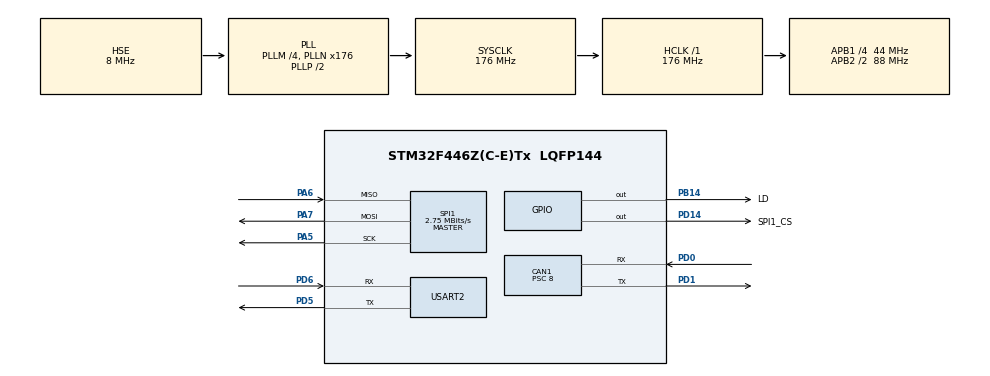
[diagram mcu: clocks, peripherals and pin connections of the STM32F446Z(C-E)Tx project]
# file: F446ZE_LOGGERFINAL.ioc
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CAN1.BS1=CAN_BS1_9TQ
CAN1.CalculateBaudRate=500000
CAN1.CalculateTimeBit=2000
CAN1.CalculateTimeQuantum=181.8181818181818
CAN1.Prescaler=8
FATFS._MAX_SS=512
FATFS._MIN_SS=512
FATFS._USE_LFN=2
Mcu.Family=STM32F4
Mcu.Name=STM32F446Z(C-E)Tx
Mcu.Package=LQFP144
NVIC.CAN1_RX0_IRQn=true\:0\:0\:false\:false\:true\:true\:true\:true
NVIC.PriorityGroup=NVIC_PRIORITYGROUP_4
NVIC.TIM6_DAC_IRQn=true\:15\:0\:false\:false\:true\:false\:true\:true
NVIC.TimeBase=TIM6_DAC_IRQn
NVIC.TimeBaseIP=TIM6
PA13.Mode=Serial_Wire
PA13.Signal=SYS_JTMS-SWDIO
PA14.Mode=Serial_Wire
PA14.Signal=SYS_JTCK-SWCLK
PA5.Mode=Full_Duplex_Master
PA5.Signal=SPI1_SCK
PA6.Mode=Full_Duplex_Master
PA6.Signal=SPI1_MISO
PA7.Mode=Full_Duplex_Master
PA7.Signal=SPI1_MOSI
PB14.GPIO_Label=LD
PB14.Signal=GPIO_Output
PC14-OSC32_IN.Mode=LSE-External-Oscillator
PC14-OSC32_IN.Signal=RCC_OSC32_IN
PC15-OSC32_OUT.Mode=LSE-External-Oscillator
PC15-OSC32_OUT.Signal=RCC_OSC32_OUT
PD0.Mode=CAN_Activate
PD0.Signal=CAN1_RX
PD1.Mode=CAN_Activate
PD1.Signal=CAN1_TX
PD14.GPIO_Label=SPI1_CS
PD14.Signal=GPIO_Output
PD5.Mode=Asynchronous
PD5.Signal=USART2_TX
PD6.Mode=Asynchronous
PD6.Signal=USART2_RX
PH0-OSC_IN.Mode=HSE-External-Oscillator
PH0-OSC_IN.Signal=RCC_OSC_IN
PH1-OSC_OUT.Mode=HSE-External-Oscillator
PH1-OSC_OUT.Signal=RCC_OSC_OUT
ProjectManager.HeapSize=0x200
ProjectManager.StackSize=0x400
ProjectManager.TargetToolchain=STM32CubeIDE
RCC.48MHZClocksFreq_Value=24000000
RCC.AHBFreq_Value=176000000
RCC.APB1CLKDivider=RCC_HCLK_DIV4
RCC.APB1Freq_Value=44000000
RCC.APB1TimFreq_Value=88000000
RCC.APB2CLKDivider=RCC_HCLK_DIV2
RCC.APB2Freq_Value=88000000
RCC.APB2TimFreq_Value=176000000
RCC.CortexFreq_Value=176000000
RCC.HCLKFreq_Value=176000000
RCC.HSE_VALUE=8000000
RCC.HSI_VALUE=16000000
RCC.PLLM=4
RCC.PLLMUL=RCC_PLL_MUL9
RCC.PLLN=176
RCC.PLLQ=7
RCC.PLLSourceVirtual=RCC_PLLSOURCE_HSE
RCC.PRESCALERUSB=RCC_USBCLKSOURCE_PLL_DIV1_5
RCC.RCC_RTC_Clock_SourceVirtual=RCC_RTCCLKSOURCE_LSE
RCC.SYSCLKFreq_VALUE=176000000
RCC.SYSCLKSource=RCC_SYSCLKSOURCE_PLLCLK
RCC.SYSCLKSourceVirtual=RCC_SYSCLKSOURCE_PLLCLK
RCC.USBFreq_Value=50285714.28571428
RCC.VCOOutputFreq_Value=352000000
SPI1.BaudRatePrescaler=SPI_BAUDRATEPRESCALER_32
SPI1.CalculateBaudRate=2.75 MBits/s
SPI1.Direction=SPI_DIRECTION_2LINES
SPI1.Mode=SPI_MODE_MASTER
SPI1.VirtualType=VM_MASTER
USART2.VirtualMode=VM_ASYNC
VP_FATFS_VS_Generic.Mode=User_defined
VP_RTC_VS_RTC_Activate.Mode=RTC_Enabled
VP_RTC_VS_RTC_Calendar.Mode=RTC_Calendar
VP_SYS_VS_tim6.Mode=TIM6
board=NUCLEO-F446ZE

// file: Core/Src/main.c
/* USER CODE BEGIN Header */
/**
  ******************************************************************************
  * @file           : main.c
  * @brief          : Main program body
  ******************************************************************************
  * @attention
  *
  * Copyright (c) 2024 STMicroelectronics.
  * All rights reserved.
  *
  * This software is licensed under terms that can be found in the LICENSE file
  * in the root directory of this software component.
  * If no LICENSE file comes with this software, it is provided AS-IS.
  *
  ******************************************************************************
  */
/* USER CODE END Header */
#include "main.h"
#include "fatfs.h"

/* USER CODE BEGIN Includes */
#include "FreeRTOS.h"
#include "task.h"
#include "timers.h"
#include "queue.h"
#include "semphr.h"
#include "event_groups.h"

#include "File_Handling_RTOS.h"
#include "can.h"
//#include "int_rtc.h"
#include "timestamp.h"

#include "string.h"
#include "stdio.h"

/* USER CODE END Includes */

/* USER CODE BEGIN PD */
uint16_t data0[90]={0};

#define WHEEL_RPM                       data0[0]
#define WHEEL_R                         data0[1]
#define BATTERY_VOLTAGE                 data0[2]
#define BATTERY_CURRENT                 data0[3]
#define THROTTLE_POSITION               data0[4]
#define MODE_AND_LOCK_STATE             data0[5]
#define PARKING_INDICATION              data0[6]
#define REVERSE                         data0[7]
#define OVER_CURRENT                    data0[8]
#define OVERLOAD_ERROR                  data0[9]
#define LOCK1                           data0[10]
#define VEHICLE_ANTI_THEFT_SYSTEM       data0[11]
#define E_ABS                           data0[12]
#define CHARGING                        data0[13]
#define REGENERATIVE_BRAKING1           data0[14]
#define THROTTLE_ERROR                  data0[15]
#define MCU_ERROR                       data0[16]
#define MOTOR_ERROR                     data0[17]
#define BRAKE_ANY                       data0[18]
#define TEMPERATURE                     data0[19]
#define LOCK2                           data0[20]
#define FWD_GEAR                        data0[21]
#define NEUTRAL_GEAR                    data0[22]
#define SPEED_CONTROL_STATUS            data0[23]
#define CURRENT_CONTROL_STATUS          data0[24]
#define UNDER_VOLTAGE_STATUS            data0[25]
#define OVER_VOLTAGE_STATUS             data0[26]
#define REGENERATIVE_BRAKING_STATUS     data0[27]
#define REGENERATIVE_DURING_BRAKING_STATUS data0[28]
#define TORQUE_CONTROL_STATUS           data0[29]
#define MODE_AND_STATE_CONTROL_SECTION  data0[30]
#define E_ABS2                          data0[31]
#define REGENERATIVE_BRAKING2           data0[32]
#define LOCK3                           data0[33]
#define MAXIMUM_SPEED_CONTROL           data0[34]
#define CURRENT_LIMIT                   data0[35]
#define UNDERVOLTAGE_LIMIT              data0[36]
#define OVERVOLTAGE_LIMIT               data0[37]
#define REGEN_BRA_AT_ZERO_THROTTLE      data0[38]
#define RE_BR_AT_ZERO_THROTTLE          data0[39]

// RevxxData mappings
#define SOC                 data0[40]
#define STATE_OF_HEALTH     data0[41]
#define CURRENT_STATE       data0[42]
#define PREV_STATE          data0[43]
#define AVAILABLECAPACITY   data0[44]
#define BMSID               data0[45]
#define H_VERSION           data0[46]
#define S_VERSION           data0[47]
#define CELLVOL1            data0[48]
#define CELLVOL2            data0[49]
#define CELLVOL3            data0[50]
#define CELLVOL4            data0[51]
#define CELLVOL5            data0[52]
#define CELLVOL6            data0[53]
#define CELLVOL7            data0[54]
#define CELLVOL8            data0[55]
#define CELLVOL9            data0[56]
#define CELLVOL10           data0[57]
#define CELLVOL11           data0[58]
#define CELLVOL12           data0[59]
#define CELLVOL13           data0[60]
#define CELLVOL14           data0[61]
#define CELLVOL15           data0[62]
#define CELLVOL16           data0[63]
#define CELLVOL17           data0[64]
#define CELLVOL18           data0[65]
#define CELLVOL19           data0[66]
#define CELLVOL20           data0[67]
#define CELLTEMP1           data0[68]
#define CELLTEMP2           data0[69]
#define CELLTEMP3           data0[70]
#define CELLTEMP4           data0[71]
#define CELLTEMP5           data0[72]
#define CELLTEMP6           data0[73]
#define CELLTEMP7           data0[74]
#define CELLTEMP8           data0[75]
#define CELLTEMP9           data0[76]
#define CELLTEMP10          data0[77]
#define CELLTEMP11          data0[78]
#define CELLTEMP12          data0[79]
#define CELLTEMP13          data0[80]
#define CELLTEMP14          data0[81]
#define CELLTEMP15          data0[82]
#define CELLTEMP16          data0[83]
#define CELLTEMP17          data0[84]
#define CELLTEMP18          data0[85]
#define TOTAL_VOLTAGE       data0[86]
#define CURRENT             data0[87]
#define POWER               data0[88]
#define BATTERY_FAILURE     data0[89]
/* USER CODE END PD */

CAN_HandleTypeDef hcan1;

RTC_HandleTypeDef hrtc;

SPI_HandleTypeDef hspi1;

UART_HandleTypeDef huart2;

/* USER CODE BEGIN PV */

CAN_TxHeaderTypeDef TxHeader;

CAN_RxHeaderTypeDef RxHeader;

uint8_t txData[8];

uint8_t rxData[8];

uint32_t mailbox0;

extern char time[30];
extern char date[30];

extern RTC_DateTypeDef gDate;
extern RTC_TimeTypeDef gTime;

extern uint32_t seconds;
extern uint32_t milliseconds;
extern uint32_t milliseconds_display;
extern uint8_t running;

/* USER CODE END PV */

void SystemClock_Config(void);
static void MX_GPIO_Init(void);
static void MX_SPI1_Init(void);
static void MX_USART2_UART_Init(void);
static void MX_CAN1_Init(void);
static void MX_RTC_Init(void);
/* USER CODE BEGIN PFP */
extern void Start_Stopwatch(void);

/* USER CODE END PFP */

/* USER CODE BEGIN 0 */
xTaskHandle SD_TASK_Handler;
xTaskHandle UART_TASK_Handler;

//void UART_TASK(void *arguments){
//	while(1){
////	char *buffer = pvPortMalloc(2000*sizeof(char));
//
////	sprintf(buffer,
////	    "%d,%d,%d,%d,%d,%d,%d,%d,%d,%d,%d,%d,%d,%d,%d,%d,%d,%d,%d,%d,%d,%d,%d,%d,%d,%d,%d,%d,%d,%d,%d,%d,%d,%d,%d,%d,%d,%d,%d,%d,%d,%d,%d,%d,%d,%d,%d,%d,%d,%d,%d,%d,%d,%d,%d,%d,%d,%d,%d,%d,%d,%d,%d,%d,%d,%d,%d,%d,%d,%d,%d,%d,%d,%d,%d,%d,%d,%d,%d,%d,%d,%d,%d,%d,%d,%d,%d,%d,%d,%d\n",
////	    data0[0], data0[1], data0[2], data0[3], data0[4], data0[5], data0[6], data0[7], data0[8], data0[9], data0[10], data0[11],
////	    data0[12], data0[13], data0[14], data0[15], data0[16], data0[17], data0[18], data0[19], data0[20], data0[21], data0[22], data0[23],
////	    data0[24], data0[25], data0[26], data0[27], data0[28], data0[29], data0[30], data0[31], data0[32], data0[33], data0[34], data0[35],
////	    data0[36], data0[37], data0[38], data0[39], data0[40], data0[41], data0[42], data0[43], data0[44], data0[45], data0[46], data0[47],
////	    data0[48], data0[49], data0[50], data0[51], data0[52], data0[53], data0[54], data0[55], data0[56], data0[57], data0[58], data0[59],
////	    data0[60], data0[61], data0[62], data0[63], data0[64], data0[65], data0[66], data0[67], data0[68], data0[69], data0[70], data0[71],
////	    data0[72], data0[73], data0[74], data0[75], data0[76], data0[77], data0[78], data0[79], data0[80], data0[81], data0[82], data0[83],
////	    data0[84], data0[85], data0[86], data0[87], data0[88], data0[89]
////	);
////	sprintf(buffer, "%02d-%02d-%04d_%02d-%02d_KonwertLog.txt\r\n",
////	               gDate.Date, gDate.Month, 2000 + gDate.Year, gTime.Hours, gTime.Minutes);
//
//	HAL_UART_Transmit(&huart2, (uint8_t*)buffer, strlen(buffer), HAL_MAX_DELAY);
////	HAL_NVIC_EnableIRQ(CAN1_RX0_IRQn);
//
//	vPortFree(buffer);
//	vTaskDelay(pdMS_TO_TICKS(1000)); // Delay 10 milliseconds
//
//	}
//}

//char *buffer;  // Declare the pointer variable
//char buffer[2000];  // Static allocation

void SD_TASK(void *arguments){

		int indx=1;
		int flag=1;

//		char *buffer = pvPortMalloc(3000*sizeof(char));

		char buffer[1500];
		while (1)
		{
		HAL_GPIO_WritePin(GPIOB, GPIO_PIN_14, 1);
		if(flag==1){
			sprintf(buffer, " INDEX,TIMESTAMP, WHEEL_RPM, WHEEL_R, BATTERY_VOLTAGE, BATTERY_CURRENT, THROTTLE_POSITION, MODE_AND_LOCK_STATE, PARKING_INDICATION, REVERSE, OVER_CURRENT, OVERLOAD_ERROR, LOCK1, VEHICLE_ANTI_THEFT_SYSTEM, E_ABS, CHARGING, REGENERATIVE_BRAKING1, THROTTLE_ERROR, MCU_ERROR, MOTOR_ERROR, BRAKE_ANY, TEMPERATURE, LOCK2, FWD_GEAR, NEUTRAL_GEAR, SPEED_CONTROL_STATUS, CURRENT_CONTROL_STATUS, UNDER_VOLTAGE_STATUS, OVER_VOLTAGE_STATUS, REGENERATIVE_BRAKING_STATUS, REGENERATIVE_DURING_BRAKING_STATUS, TORQUE_CONTROL_STATUS, MODE_AND_STATE_CONTROL_SECTION, E_ABS2, REGENERATIVE_BRAKING2, LOCK3, MAXIMUM_SPEED_CONTROL, CURRENT_LIMIT, UNDERVOLTAGE_LIMIT, OVERVOLTAGE_LIMIT, REGEN_BRA_AT_ZERO_THROTTLE, RE_BR_AT_ZERO_THROTTLE, SOC, STATE_OF_HEALTH, CURRENT_STATE, PREV_STATE, AVAILABLECAPACITY, BMSID, H_VERSION, S_VERSION, CELLVOL1, CELLVOL2, CELLVOL3, CELLVOL4, CELLVOL5, CELLVOL6, CELLVOL7, CELLVOL8, CELLVOL9, CELLVOL10, CELLVOL11, CELLVOL12, CELLVOL13, CELLVOL14, CELLVOL15, CELLVOL16, CELLVOL17, CELLVOL18, CELLVOL19, CELLVOL20, CELLTEMP1, CELLTEMP2, CELLTEMP3, CELLTEMP4, CELLTEMP5, CELLTEMP6, CELLTEMP7, CELLTEMP8, CELLTEMP9, CELLTEMP10, CELLTEMP11, CELLTEMP12, CELLTEMP13, CELLTEMP14, CELLTEMP15, CELLTEMP16, CELLTEMP17, CELLTEMP18, TOTAL_VOLTAGE, CURRENT, POWER, BATTERY_FAILURE\n");
			HAL_UART_Transmit(&huart2, (uint8_t*)buffer, strlen(buffer), HAL_MAX_DELAY);
			flag=0;
		}else{
			Start_Stopwatch();
			sprintf(buffer,
			    "%d,%lu.%03lu,%d,%d,%d,%d,%d,%d,%d,%d,%d,%d,%d,%d,%d,%d,%d,%d,%d,%d,%d,%d,%d,%d,%d,%d,%d,%d,%d,%d,%d,%d,%d,%d,%d,%d,%d,%d,%d,%d,%d,%d,%d,%d,%d,%d,%d,%d,%d,%d,%d,%d,%d,%d,%d,%d,%d,%d,%d,%d,%d,%d,%d,%d,%d,%d,%d,%d,%d,%d,%d,%d,%d,%d,%d,%d,%d,%d,%d,%d,%d,%d,%d,%d,%d,%d,%d,%d,%d,%d,%d,%d\n",
			    indx,seconds,milliseconds_display,data0[0], data0[1], data0[2], data0[3], data0[4], data0[5], data0[6], data0[7], data0[8], data0[9], data0[10], data0[11],
			    data0[12], data0[13], data0[14], data0[15], data0[16], data0[17], data0[18], data0[19], data0[20], data0[21], data0[22], data0[23],
			    data0[24], data0[25], data0[26], data0[27], data0[28], data0[29], data0[30], data0[31], data0[32], data0[33], data0[34], data0[35],
			    data0[36], data0[37], data0[38], data0[39], data0[40], data0[41], data0[42], data0[43], data0[44], data0[45], data0[46], data0[47],
			    data0[48], data0[49], data0[50], data0[51], data0[52], data0[53], data0[54], data0[55], data0[56], data0[57], data0[58], data0[59],
			    data0[60], data0[61], data0[62], data0[63], data0[64], data0[65], data0[66], data0[67], data0[68], data0[69], data0[70], data0[71],
			    data0[72], data0[73], data0[74], data0[75], data0[76], data0[77], data0[78], data0[79], data0[80], data0[81], data0[82], data0[83],
			    data0[84], data0[85], data0[86], data0[87], data0[88], data0[89]
			);

			HAL_UART_Transmit(&huart2, (uint8_t*)buffer, strlen(buffer), HAL_MAX_DELAY);
			indx++;
		}

//			Mount_SD("/");
			Update_File("konwert.TXT", buffer);
//			vPortFree(buffer);
//			HAL_UART_Transmit(&huart2, (uint8_t*)buffer, strlen(buffer), HAL_MAX_DELAY);
//			Unmount_SD("/");
//			HAL_NVIC_EnableIRQ(CAN1_RX0_IRQn);
//			HAL_Delay(500);
			HAL_GPIO_WritePin(GPIOB, GPIO_PIN_14, 0);
//			HAL_Delay(500);
//			HAL_GPIO_WritePin(LD_GPIO_Port, LD_Pin, 0);
//			vTaskDelay(pdMS_TO_TICKS(1000)); // Delay 10 milliseconds
		}
}
/* USER CODE END 0 */

int main(void)
{

  /* MCU Configuration--------------------------------------------------------*/

  /* Reset of all peripherals, Initializes the Flash interface and the Systick. */
  HAL_Init();

  /* Configure the system clock */
  SystemClock_Config();

  /* Initialize all configured peripherals */
  MX_GPIO_Init();
  MX_SPI1_Init();
  MX_USART2_UART_Init();
  MX_FATFS_Init();
  MX_CAN1_Init();
  MX_RTC_Init();
  /* USER CODE BEGIN 2 */
//  if(HAL_RTCEx_BKUPRead(&hrtc, RTC_BKP_DR1) != 0x32F2)
//    {
//      //   Set the time
//        set_time();
//    }
//  get_time();
//  sprintf((char*)fileName, "%02d-%02d-%04d_%02d-%02d_KonwertLog.txt",
//               gDate.Date, gDate.Month, 2000 + gDate.Year, gTime.Hours, gTime.Minutes);

  Mount_SD("/");
  Format_SD();
  Create_File("konwert.TXT");
//  Unmount_SD("/");

//  filter_config();
//
//  HAL_CAN_ActivateNotification(&hcan1, CAN_IT_RX_FIFO0_MSG_PENDING);
//
//  if(HAL_CAN_Start(&hcan1)!=HAL_OK)
//  Error_Handler();

  xTaskCreate(SD_TASK, "SD_CARD", 4000, NULL, 5, &SD_TASK_Handler); //2048
//  xTaskCreate(UART_TASK, "UART_CARD", 256, NULL, 5, &UART_TASK_Handler);
//
//
  vTaskStartScheduler();

  /* USER CODE END 2 */

  /* Infinite loop */
  while (1)
  {

  }
}

void SystemClock_Config(void)
{
  RCC_OscInitTypeDef RCC_OscInitStruct = {0};
  RCC_ClkInitTypeDef RCC_ClkInitStruct = {0};

  /** Configure the main internal regulator output voltage
  */
  __HAL_RCC_PWR_CLK_ENABLE();
  __HAL_PWR_VOLTAGESCALING_CONFIG(PWR_REGULATOR_VOLTAGE_SCALE1);

  /** Initializes the RCC Oscillators according to the specified parameters
  * in the RCC_OscInitTypeDef structure.
  */
  RCC_OscInitStruct.OscillatorType = RCC_OSCILLATORTYPE_HSE|RCC_OSCILLATORTYPE_LSE;
  RCC_OscInitStruct.HSEState = RCC_HSE_ON;
  RCC_OscInitStruct.LSEState = RCC_LSE_ON;
  RCC_OscInitStruct.PLL.PLLState = RCC_PLL_ON;
  RCC_OscInitStruct.PLL.PLLSource = RCC_PLLSOURCE_HSE;
  RCC_OscInitStruct.PLL.PLLM = 4;
  RCC_OscInitStruct.PLL.PLLN = 176;
  RCC_OscInitStruct.PLL.PLLP = RCC_PLLP_DIV2;
  RCC_OscInitStruct.PLL.PLLQ = 7;
  RCC_OscInitStruct.PLL.PLLR = 2;
  if (HAL_RCC_OscConfig(&RCC_OscInitStruct) != HAL_OK)
  {
    Error_Handler();
  }

  /** Activate the Over-Drive mode
  */
  if (HAL_PWREx_EnableOverDrive() != HAL_OK)
  {
    Error_Handler();
  }

  /** Initializes the CPU, AHB and APB buses clocks
  */
  RCC_ClkInitStruct.ClockType = RCC_CLOCKTYPE_HCLK|RCC_CLOCKTYPE_SYSCLK
                              |RCC_CLOCKTYPE_PCLK1|RCC_CLOCKTYPE_PCLK2;
  RCC_ClkInitStruct.SYSCLKSource = RCC_SYSCLKSOURCE_PLLCLK;
  RCC_ClkInitStruct.AHBCLKDivider = RCC_SYSCLK_DIV1;
  RCC_ClkInitStruct.APB1CLKDivider = RCC_HCLK_DIV4;
  RCC_ClkInitStruct.APB2CLKDivider = RCC_HCLK_DIV2;

  if (HAL_RCC_ClockConfig(&RCC_ClkInitStruct, FLASH_LATENCY_5) != HAL_OK)
  {
    Error_Handler();
  }
}

static void MX_CAN1_Init(void)
{

  hcan1.Instance = CAN1;
  hcan1.Init.Prescaler = 8;
  hcan1.Init.Mode = CAN_MODE_NORMAL;
  hcan1.Init.SyncJumpWidth = CAN_SJW_1TQ;
  hcan1.Init.TimeSeg1 = CAN_BS1_9TQ;
  hcan1.Init.TimeSeg2 = CAN_BS2_1TQ;
  hcan1.Init.TimeTriggeredMode = DISABLE;
  hcan1.Init.AutoBusOff = DISABLE;
  hcan1.Init.AutoWakeUp = DISABLE;
  hcan1.Init.AutoRetransmission = DISABLE;
  hcan1.Init.ReceiveFifoLocked = DISABLE;
  hcan1.Init.TransmitFifoPriority = DISABLE;
  if (HAL_CAN_Init(&hcan1) != HAL_OK)
  {
    Error_Handler();
  }

}

static void MX_RTC_Init(void)
{

  RTC_TimeTypeDef sTime = {0};
  RTC_DateTypeDef sDate = {0};

  /** Initialize RTC Only
  */
  hrtc.Instance = RTC;
  hrtc.Init.HourFormat = RTC_HOURFORMAT_24;
  hrtc.Init.AsynchPrediv = 127;
  hrtc.Init.SynchPrediv = 255;
  hrtc.Init.OutPut = RTC_OUTPUT_DISABLE;
  hrtc.Init.OutPutPolarity = RTC_OUTPUT_POLARITY_HIGH;
  hrtc.Init.OutPutType = RTC_OUTPUT_TYPE_OPENDRAIN;
  if (HAL_RTC_Init(&hrtc) != HAL_OK)
  {
    Error_Handler();
  }

  /** Initialize RTC and set the Time and Date
  */
  sTime.Hours = 0x0;
  sTime.Minutes = 0x0;
  sTime.Seconds = 0x0;
  sTime.DayLightSaving = RTC_DAYLIGHTSAVING_NONE;
  sTime.StoreOperation = RTC_STOREOPERATION_RESET;
  if (HAL_RTC_SetTime(&hrtc, &sTime, RTC_FORMAT_BCD) != HAL_OK)
  {
    Error_Handler();
  }
  sDate.WeekDay = RTC_WEEKDAY_MONDAY;
  sDate.Month = RTC_MONTH_JANUARY;
  sDate.Date = 0x1;
  sDate.Year = 0x0;

  if (HAL_RTC_SetDate(&hrtc, &sDate, RTC_FORMAT_BCD) != HAL_OK)
  {
    Error_Handler();
  }

}

static void MX_SPI1_Init(void)
{

  /* SPI1 parameter configuration*/
  hspi1.Instance = SPI1;
  hspi1.Init.Mode = SPI_MODE_MASTER;
  hspi1.Init.Direction = SPI_DIRECTION_2LINES;
  hspi1.Init.DataSize = SPI_DATASIZE_8BIT;
  hspi1.Init.CLKPolarity = SPI_POLARITY_LOW;
  hspi1.Init.CLKPhase = SPI_PHASE_1EDGE;
  hspi1.Init.NSS = SPI_NSS_SOFT;
  hspi1.Init.BaudRatePrescaler = SPI_BAUDRATEPRESCALER_32;
  hspi1.Init.FirstBit = SPI_FIRSTBIT_MSB;
  hspi1.Init.TIMode = SPI_TIMODE_DISABLE;
  hspi1.Init.CRCCalculation = SPI_CRCCALCULATION_DISABLE;
  hspi1.Init.CRCPolynomial = 10;
  if (HAL_SPI_Init(&hspi1) != HAL_OK)
  {
    Error_Handler();
  }

}

static void MX_USART2_UART_Init(void)
{

  huart2.Instance = USART2;
  huart2.Init.BaudRate = 115200;
  huart2.Init.WordLength = UART_WORDLENGTH_8B;
  huart2.Init.StopBits = UART_STOPBITS_1;
  huart2.Init.Parity = UART_PARITY_NONE;
  huart2.Init.Mode = UART_MODE_TX_RX;
  huart2.Init.HwFlowCtl = UART_HWCONTROL_NONE;
  huart2.Init.OverSampling = UART_OVERSAMPLING_16;
  if (HAL_UART_Init(&huart2) != HAL_OK)
  {
    Error_Handler();
  }

}

static void MX_GPIO_Init(void)
{
  GPIO_InitTypeDef GPIO_InitStruct = {0};

  /* GPIO Ports Clock Enable */
  __HAL_RCC_GPIOC_CLK_ENABLE();
  __HAL_RCC_GPIOH_CLK_ENABLE();
  __HAL_RCC_GPIOA_CLK_ENABLE();
  __HAL_RCC_GPIOB_CLK_ENABLE();
  __HAL_RCC_GPIOD_CLK_ENABLE();

  /*Configure GPIO pin Output Level */
  HAL_GPIO_WritePin(LD_GPIO_Port, LD_Pin, GPIO_PIN_RESET);

  /*Configure GPIO pin Output Level */
  HAL_GPIO_WritePin(SPI1_CS_GPIO_Port, SPI1_CS_Pin, GPIO_PIN_RESET);

  /*Configure GPIO pin : LD_Pin */
  GPIO_InitStruct.Pin = LD_Pin;
  GPIO_InitStruct.Mode = GPIO_MODE_OUTPUT_PP;
  GPIO_InitStruct.Pull = GPIO_NOPULL;
  GPIO_InitStruct.Speed = GPIO_SPEED_FREQ_LOW;
  HAL_GPIO_Init(LD_GPIO_Port, &GPIO_InitStruct);

  /*Configure GPIO pin : SPI1_CS_Pin */
  GPIO_InitStruct.Pin = SPI1_CS_Pin;
  GPIO_InitStruct.Mode = GPIO_MODE_OUTPUT_PP;
  GPIO_InitStruct.Pull = GPIO_NOPULL;
  GPIO_InitStruct.Speed = GPIO_SPEED_FREQ_LOW;
  HAL_GPIO_Init(SPI1_CS_GPIO_Port, &GPIO_InitStruct);

}

/* USER CODE BEGIN 4 */
void HAL_CAN_RxFifo0MsgPendingCallback(CAN_HandleTypeDef *hcann){

		if(HAL_CAN_GetRxMessage(&hcan1,CAN_RX_FIFO0,&RxHeader, rxData) != HAL_OK){
				Error_Handler();
		}
		else{
			 HAL_NVIC_DisableIRQ(CAN1_RX0_IRQn);
		}
		HAL_GPIO_WritePin(LD_GPIO_Port, LD_Pin, 1);

		if (RxHeader.ExtId == 0x14520902) {
		    WHEEL_RPM = (rxData[0] | (rxData[1] << 8));
		    WHEEL_R = (rxData[2] | (rxData[3] << 8));
		    BATTERY_VOLTAGE = (rxData[4] | (rxData[5] << 8)) * 0.1;
		    BATTERY_CURRENT = (rxData[6] | (rxData[7] << 8)) * 0.01;
		}

		if (RxHeader.ExtId == 0x18530902) {
		    THROTTLE_POSITION = rxData[0];
		    MODE_AND_LOCK_STATE = (rxData[1] >> 6) & ((1 << 2) - 1);
		    PARKING_INDICATION = (rxData[1] >> 2) & 1;
		    REVERSE = (rxData[1] >> 3) & 1;
		    OVER_CURRENT = (rxData[1] >> 4) & 1;
		    OVERLOAD_ERROR = (rxData[1] >> 5) & 1;
		    LOCK1 = (rxData[1] >> 7) & 1;
		    VEHICLE_ANTI_THEFT_SYSTEM = (rxData[2] >> 0) & 1;
		    E_ABS = (rxData[2] >> 1) & 1;
		    CHARGING = (rxData[2] >> 2) & 1;
		    REGENERATIVE_BRAKING1 = (rxData[2] >> 3) & 1;
		    THROTTLE_ERROR = (rxData[2] >> 5) & 1;
		    MCU_ERROR = (rxData[2] >> 4) & 1;
		    MOTOR_ERROR = (rxData[2] >> 6) & 1;
		    BRAKE_ANY = (rxData[2] >> 7) & 1;
		    TEMPERATURE = rxData[3];
		    LOCK2 = (rxData[4] >> 0) & 1;
		    FWD_GEAR = (rxData[4] >> 1) & 1;
		    NEUTRAL_GEAR = (rxData[4] >> 2) & 1;
		}

		if (RxHeader.ExtId == 0x1C530902) {
		    SPEED_CONTROL_STATUS = rxData[0];
		    CURRENT_CONTROL_STATUS = rxData[1];
		    UNDER_VOLTAGE_STATUS = rxData[2];
		    OVER_VOLTAGE_STATUS = rxData[3];
		    REGENERATIVE_BRAKING_STATUS = rxData[4];
		    REGENERATIVE_DURING_BRAKING_STATUS = rxData[5];
		    TORQUE_CONTROL_STATUS = rxData[6];
		}

		if (RxHeader.ExtId == 0x18430209) {
		    MODE_AND_STATE_CONTROL_SECTION = (rxData[0] >> 6) & ((1 << 2) - 1);
		    E_ABS2 = (rxData[0] >> 2) & 1;
		    REGENERATIVE_BRAKING2 = (rxData[0] >> 3) & 1;
		    LOCK3 = (rxData[0] >> 6) & 1;
		    MAXIMUM_SPEED_CONTROL = rxData[1];
		    CURRENT_LIMIT = rxData[2];
		    UNDERVOLTAGE_LIMIT = rxData[3];
		    OVERVOLTAGE_LIMIT = rxData[4];
		    REGEN_BRA_AT_ZERO_THROTTLE = rxData[5];
		    RE_BR_AT_ZERO_THROTTLE = rxData[6];
		}

		if (RxHeader.ExtId == 0x19FF01D9) {
		    SOC = rxData[0];
		    STATE_OF_HEALTH = rxData[1];
		    CURRENT_STATE = rxData[2];
		    PREV_STATE = rxData[3];
		        // AVAILABLECAPACITY not assigned, spans bytes 4-7
		    }

		    if (RxHeader.ExtId == 0x19FF01D0) {
		        H_VERSION = rxData[0];
		        S_VERSION = rxData[1];
		        BMSID = rxData[6];
		    }

		    if (RxHeader.ExtId == 0x19FF01D1) {
		        CELLVOL1 = ((rxData[0] << 8) | rxData[1]) * 0.001;
		        CELLVOL2 = ((rxData[2] << 8) | rxData[3]) * 0.001;
		        CELLVOL3 = ((rxData[4] << 8) | rxData[5]) * 0.001;
		        CELLVOL4 = ((rxData[6] << 8) | rxData[7]) * 0.001;
		    }

		    if (RxHeader.ExtId == 0x19FF01D2) {
		        CELLVOL5 = ((rxData[0] << 8) | rxData[1]) * 0.001;
		        CELLVOL6 = ((rxData[2] << 8) | rxData[3]) * 0.001;
		        CELLVOL7 = ((rxData[4] << 8) | rxData[5]) * 0.001;
		        CELLVOL8 = ((rxData[6] << 8) | rxData[7]) * 0.001;
		    }

		    if (RxHeader.ExtId == 0x19FF01D3) {
		        CELLVOL9 = ((rxData[0] << 8) | rxData[1]) * 0.001;
		        CELLVOL10 = ((rxData[2] << 8) | rxData[3]) * 0.001;
		        CELLVOL11 = ((rxData[4] << 8) | rxData[5]) * 0.001;
		        CELLVOL12 = ((rxData[6] << 8) | rxData[7]) * 0.001;
		    }

		    if (RxHeader.ExtId == 0x19FF01D4) {
		        CELLVOL13 = ((rxData[0] << 8) | rxData[1]) * 0.001;
		        CELLVOL14 = ((rxData[2] << 8) | rxData[3]) * 0.001;
		        CELLVOL15 = ((rxData[4] << 8) | rxData[5]) * 0.001;
		        CELLVOL16 = ((rxData[6] << 8) | rxData[7]) * 0.001;
		    }

		    if (RxHeader.ExtId == 0x19FF01D5) {
		        CELLVOL17 = ((rxData[0] << 8) | rxData[1]) * 0.001;
		        CELLVOL18 = ((rxData[2] << 8) | rxData[3]) * 0.001;
		        CELLVOL19 = ((rxData[4] << 8) | rxData[5]) * 0.001;
		        CELLVOL20 = ((rxData[6] << 8) | rxData[7]) * 0.001;
		    }

		    if (RxHeader.ExtId == 0x19FF01D7) {
		        CELLTEMP1 = rxData[0];
		        CELLTEMP2 = rxData[1];
		        CELLTEMP3 = rxData[2];
		        CELLTEMP4 = rxData[3];
		        CELLTEMP5 = rxData[4];
		        CELLTEMP6 = rxData[5];
		        CELLTEMP7 = rxData[6];
		        CELLTEMP8 = rxData[7];
		    }

		    if (RxHeader.ExtId == 0x19FF01D8) {
		        CELLTEMP9 = rxData[0];
		        CELLTEMP10 = rxData[1];
		        TOTAL_VOLTAGE = ((rxData[2] << 8) | rxData[3]) * 0.01;
		        CURRENT = ((rxData[6] << 8) | rxData[7]) * 0.001;
		        POWER = TOTAL_VOLTAGE * CURRENT;
		    }

		    if (RxHeader.ExtId == 0x19FF01ED) {
		        CELLTEMP11 = rxData[0];
		        CELLTEMP12 = rxData[1];
		        CELLTEMP13 = rxData[2];
		        CELLTEMP14 = rxData[3];
		        CELLTEMP15 = rxData[4];
		        CELLTEMP16 = rxData[5];
		        CELLTEMP17 = rxData[6];
		        CELLTEMP18 = rxData[7];
		    }
//		if(RxHeader.ExtId == 0x19FF01DA){
//				revxx_data.battery_failure;
//		}
//			HAL_GPIO_WritePin(GPIOA, GPIO_PIN_5, 0);
//if(==14){
//	  xTaskCreate(UART_TASK, "UART_CARD", 256, NULL, 5, &UART_TASK_Handler);
//	  vTaskStartScheduler();
//	  //			HAL_GPIO_WritePin(LD_GPIO_Port, LD_Pin, 0);
//
//}

}
/* USER CODE END 4 */

void HAL_TIM_PeriodElapsedCallback(TIM_HandleTypeDef *htim)
{
  if (htim->Instance == TIM6) {
	           if (running) {
	               milliseconds++;
	               if (milliseconds >= 1000) {
	                   milliseconds = 0;
	                   seconds++;
	               }
	           }
	       milliseconds_display = milliseconds % 1000;
    HAL_IncTick();
  }
}

void Error_Handler(void)
{
  __disable_irq();
  while (1)
  {
  }
}
